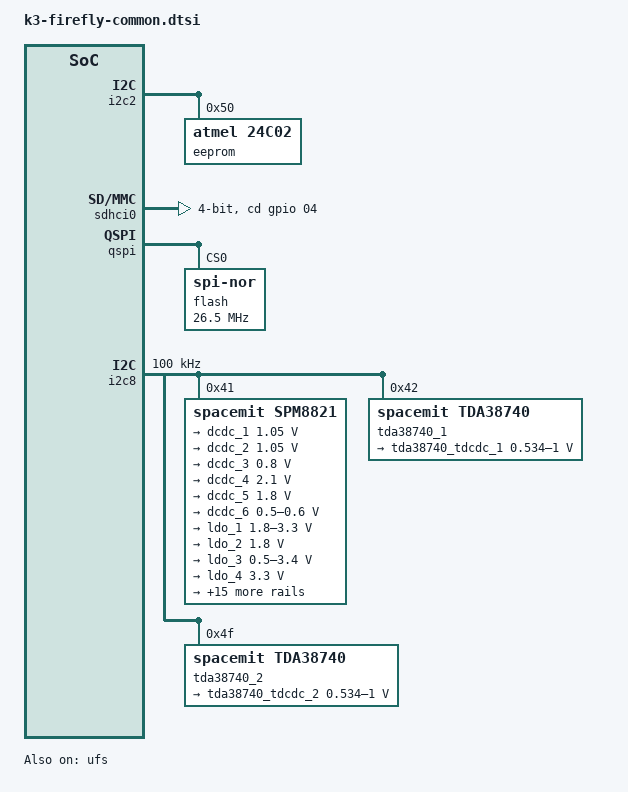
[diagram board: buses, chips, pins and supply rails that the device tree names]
// SPDX-License-Identifier: GPL-2.0
/*
 * finch board's base device tree configure.
 *
 * Copyright (C) 2025 SPACEMIT Micro Limited
 */

#include "k3.dtsi"
#include "k3-pinctrl.dtsi"
#include <dt-bindings/usb/pd.h>

&cpus {
	timebase-frequency = <24000000>;
	clocks = <&ccu CLK_TOP_DCLK>,
		 <&ccu CLK_AXICLK>,
		 <&ccu CLK_CCI550>,
		 <&ccu CLK_CPU_C0_CORE>,
		 <&ccu CLK_CPU_C1_CORE>,
		 <&ccu CLK_CPU_C2_CORE>,
		 <&ccu CLK_CPU_C3_CORE>,
		 <&ccu CLK_PLL3>,
		 <&ccu CLK_PLL4>,
		 <&ccu CLK_PLL5>,
		 <&ccu CLK_PLL8>,
		 <&ccu CLK_PLL3_D1>,
		 <&ccu CLK_CPU_C1_PLL_SRC>,
		 <&ccu CLK_PLL5_D1>,
		 <&ccu CLK_CPU_C3_PLL_SRC>;
	clock-names = "topd", "axi", "cci", "cluster0", "cluster1", "cluster2", "cluster3",
		       "pll3", "pll4", "pll5", "pll8", "pll_src3", "clt1_pll_src", "pll_src5", "clt3_pll_src";
	topd_frequency = <800000000>;
	axi_frequency =  <307000000>;
	cci_frequency =  <1228000000>;
	cluster0_frequency = <2200000000>;
	cluster1_frequency = <2200000000>;
	cluster2_frequency = <1800000000>;
	cluster3_frequency = <1800000000>;
};

&i2c2 {
	#address-cells = <1>;
	#size-cells = <0>;
	pinctrl-names = "default";
	pinctrl-0 = <&pinctrl_i2c2_1>;
	status = "okay";

	eeprom@50{
		compatible = "atmel,24c02";
		reg = <0x50>;
		status = "okay";
	};
};

&sdhci0 {
	pinctrl-names = "default","fast";
	pinctrl-0 = <&pinctrl_mmc1>;
	pinctrl-1 = <&pinctrl_mmc1_uhs>;
	bus-width = <4>;
	cd-gpios = <&gpio 04 0>;
	//vmmc-supply = <&dcdc_9>;
	vqmmc-supply = <&ldo_1>;
	clock-frequency = <204800000>;
	spacemit,tx_delaycode = <0x1f>;
	sdh-phy-module = <0>;
	status = "okay";
};

&ufs {
	status = "okay";
};

&qspi {
	status = "okay";
	pinctrl-names = "default";
	pinctrl-0 = <&pinctrl_qspi>;

	flash@0 {
		compatible = "jedec,spi-nor";
		reg = <0>;
		spi-max-frequency = <26500000>;
		m25p,fast-read;
		broken-flash-reset;
		status = "okay";
	};
};

&i2c8 {
	clock-frequency = <100000>;
	u-boot,dm-spl;
	pinctrl-names = "default";
	pinctrl-0 = <&pinctrl_i2c8>;
	status = "okay";

	spm8821: pmic@41 {
		compatible = "spacemit,spm8821";
		reg = <0x41>;
		bus = <8>;
		u-boot,dm-spl;

		regulators {
			/* buck */
			dcdc_1: DCDC_REG1 {
				regulator-name = "dcdc1";
				regulator-min-microvolt = <1050000>;
				regulator-max-microvolt = <1050000>;
				/* regulator-init-microvolt = <1050000>; */
				regulator-always-on;
				regulator-boot-on;
				u-boot,dm-spl;
			};

			dcdc_2: DCDC_REG2 {
				regulator-name = "dcdc2";
				regulator-min-microvolt = <1050000>;
				regulator-max-microvolt = <1050000>;
				regulator-always-on;
				regulator-boot-on;
			};

			dcdc_3: DCDC_REG3 {
				regulator-name = "dcdc3";
				regulator-min-microvolt = <800000>;
				regulator-max-microvolt = <800000>;
				regulator-always-on;
				regulator-boot-on;
				u-boot,dm-spl;
			};

			dcdc_4: DCDC_REG4 {
				regulator-name = "dcdc4";
				regulator-min-microvolt = <2100000>;
				regulator-max-microvolt = <2100000>;
				regulator-always-on;
				regulator-boot-on;
			};

			dcdc_5: DCDC_REG5 {
				regulator-name = "dcdc5";
				regulator-min-microvolt = <1800000>;
				regulator-max-microvolt = <1800000>;
				regulator-always-on;
				regulator-boot-on;
			};

			dcdc_6: DCDC_REG6 {
				regulator-name = "dcdc6";
				regulator-min-microvolt = <500000>;
				regulator-max-microvolt = <600000>;
				regulator-always-on;
				regulator-boot-on;
			};

			/* aldo */
			ldo_1: LDO_REG1 {
				regulator-name = "ldo1";
				regulator-min-microvolt = <1800000>;
				regulator-max-microvolt = <3300000>;
				/* regulator-init-microvolt = <3300000>; */
				regulator-always-on;
				regulator-boot-on;
				u-boot,dm-spl;
			};

			ldo_2: LDO_REG2 {
				regulator-name = "ldo2";
				regulator-min-microvolt = <1800000>;
				regulator-max-microvolt = <1800000>;
				regulator-always-on;
				regulator-boot-on;
			};

			ldo_3: LDO_REG3 {
				regulator-name = "ldo3";
				regulator-min-microvolt = <500000>;
				regulator-max-microvolt = <3400000>;
			};

			ldo_4: LDO_REG4 {
				regulator-name = "ldo4";
				regulator-min-microvolt = <3300000>;
				regulator-max-microvolt = <3300000>;
				regulator-always-on;
				regulator-boot-on;
			};

			/* dldo */
			ldo_5: LDO_REG5 {
				regulator-name = "ldo5";
				regulator-min-microvolt = <1200000>;
				regulator-max-microvolt = <1200000>;
				regulator-always-on;
				regulator-boot-on;
			};

			ldo_6: LDO_REG6 {
				regulator-name = "ldo6";
				regulator-min-microvolt = <900000>;
				regulator-max-microvolt = <900000>;
				regulator-always-on;
				regulator-boot-on;
			};

			ldo_7: LDO_REG7 {
				regulator-name = "ldo7";
				regulator-min-microvolt = <800000>;
				regulator-max-microvolt = <800000>;
				regulator-always-on;
				regulator-boot-on;
			};

			ldo_8: LDO_REG8 {
				regulator-name = "ldo8";
				regulator-min-microvolt = <1800000>;
				regulator-max-microvolt = <1800000>;
				regulator-boot-on;
			};

			ldo_9: LDO_REG9 {
				regulator-name = "ldo9";
				regulator-min-microvolt = <1800000>;
				regulator-max-microvolt = <1800000>;
				regulator-always-on;
				regulator-boot-on;
			};

			ldo_10: LDO_REG10 {
				regulator-name = "ldo10";
				regulator-min-microvolt = <1800000>;
				regulator-max-microvolt = <1800000>;
				regulator-always-on;
				regulator-boot-on;
			};

			ldo_11: LDO_REG11 {
				regulator-name = "ldo11";
				regulator-min-microvolt = <1800000>;
				regulator-max-microvolt = <1800000>;
				regulator-always-on;
				regulator-boot-on;
			};

			sw_2: SWITCH_REG1 {
				regulator-name = "switch1";
			};

			power_event: SWITCH_REG2 {
				regulator-name = "pwr-event";
			};

			power_int: SWITCH_REG3 {
				regulator-name = "pwr-int";
			};

			rtc_ctrl: SWITCH_REG4 {
				regulator-name = "rtc-ctrl";
			};

			rtc_event: SWITCH_REG5 {
				regulator-name = "rtc-event";
			};

			rtc_irq: SWITCH_REG6 {
				regulator-name = "rtc-irq";
			};

			power_down: SWITCH_REG7 {
				regulator-name = "power-down";
			};

			reboot_flag: SWITCH_REG8 {
				regulator-name = "reboot-flag";
			};

			wdt_pm8821: PMIC_WDT {
				wdt-name = "wdt_pm8821";
			};
		};
	};

	tda38740_1: tda38740@42 {
		compatible = "spacemit,tda38740";
		reg = <0x42>;
		bus = <8>;
		u-boot,dm-spl;

		regulators {
			u-boot,dm-spl;

			tda38740_tdcdc_1: TDCDC_REG1 {
				regulator-name = "tdcdc1";
				regulator-min-microvolt = <534000>;
				regulator-max-microvolt = <1000000>;
				regulator-init-microvolt = <950000>;
				regulator-boot-on;
				u-boot,dm-spl;
				regulator-state-mem {
					regulator-off-in-suspend;
				};
			};
		};
	};

	tda38740_2: tda38740@4f {
		compatible = "spacemit,tda38740";
		reg = <0x4f>;
		bus = <8>;
		u-boot,dm-spl;

		regulators {
			u-boot,dm-spl;

			tda38740_tdcdc_2: TDCDC_REG2 {
				regulator-name = "tdcdc2";
				regulator-min-microvolt = <534000>;
				regulator-max-microvolt = <1000000>;
				regulator-init-microvolt = <950000>;
				regulator-boot-on;
				u-boot,dm-spl;
				regulator-state-mem {
					regulator-off-in-suspend;
				};
			};
		};
	};
};

&pinctrl {
	gmac1_grp {
		power-source = <1800>;
	};

	qspi_grp {
		power-source = <1800>;
	};
};
